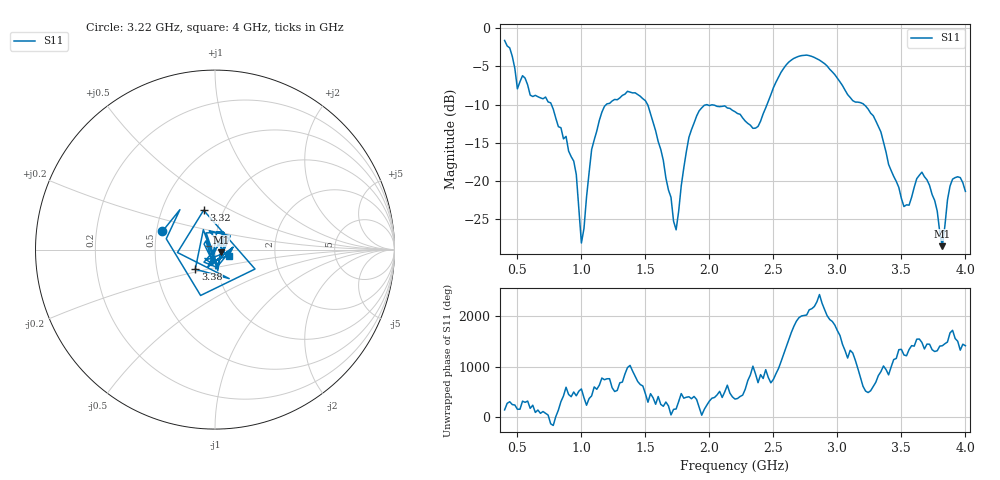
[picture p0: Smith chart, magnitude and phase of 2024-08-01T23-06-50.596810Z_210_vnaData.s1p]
!Created with skrf (http://scikit-rf.org).
# Hz S RI R 50.0
!freq ReS11 ImS11
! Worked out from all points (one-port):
!   181 points, 400 MHz to 4 GHz, reference 50 ohm
!   lowest |S11| = -28.5 dB at 3.82 GHz (marker M1), VSWR 1.08, Z = 53.5 - j1.69 ohm
!   |S11| at or under -10 dB: 1.517 GHz to 1.978 GHz (460.1 MHz wide, 26.3 % of centre); 1.982 GHz to 2.45 GHz (468.1 MHz wide, 21.1 % of centre); 3.209 GHz to end of sweep (the widest 3 of 4)
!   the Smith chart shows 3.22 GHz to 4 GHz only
!   S11 on the Smith chart (normalised r, x): 3.22 GHz: 0.54, +0.12; 3.32 GHz: 0.80, +0.37; 3.38 GHz: 0.78, -0.18; 4 GHz: 1.17, -0.09
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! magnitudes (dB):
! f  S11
! 400 MHz  -1.6
! 500 MHz  -7.9
! 720 MHz  -9.0
! 860 MHz  -14.5
! 960 MHz  -19.1
! 1 GHz  -28.1
! 1.08 GHz  -15.9
! 1.14 GHz  -12.1
! 1.3 GHz  -9.1
! 1.52 GHz  -10.1
! 1.72 GHz  -25.2
! 1.76 GHz  -23.9
! 1.84 GHz  -14.3
! 1.92 GHz  -10.8
! 2.2 GHz  -10.9
! 2.38 GHz  -12.8
! 2.66 GHz  -3.9
! 2.88 GHz  -4.4
! 3.1 GHz  -9.1
! 3.22 GHz  -10.2
! 3.32 GHz  -12.8
! 3.38 GHz  -16.2
! 3.56 GHz  -23.1
! 3.66 GHz  -18.8
! 3.76 GHz  -22.5
! 3.82 GHz  -28.5
! 3.9 GHz  -19.7
! 4 GHz  -21.3
